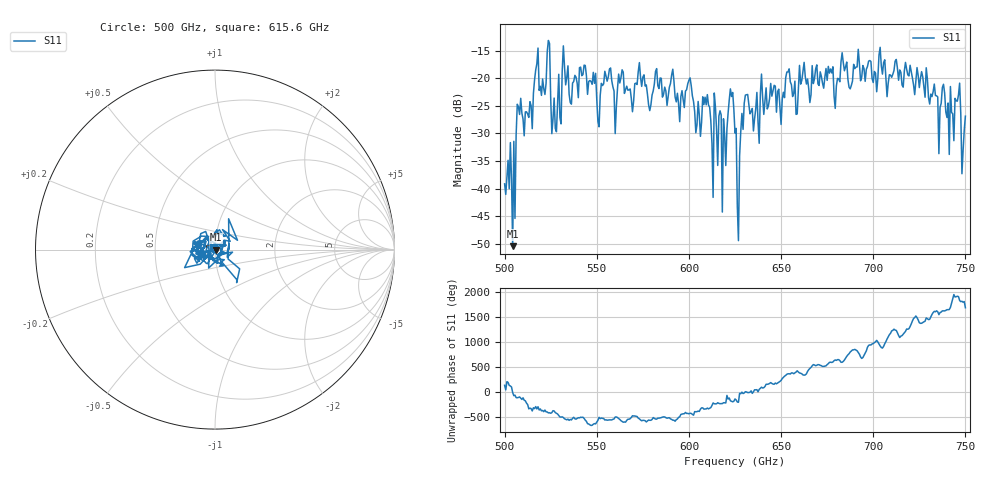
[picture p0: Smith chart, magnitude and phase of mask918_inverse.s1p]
!Created with skrf (http://scikit-rf.org).
# GHz S MA R 50.0
!freq magS11 angS11
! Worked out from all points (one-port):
!   401 points, 500 GHz to 750 GHz, reference 50 ohm
!   lowest |S11| = -50.4 dB at 504.4 GHz (marker M1), VSWR 1.01, Z = 50.3 - j0.0546 ohm
!   |S11| at or under -10 dB: start of sweep to end of sweep
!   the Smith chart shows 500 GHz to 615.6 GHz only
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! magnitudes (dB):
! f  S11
! 500 GHz  -39.1
! 504.4 GHz  -50.4
! 507.5 GHz  -25.2
! 513.8 GHz  -24.2
! 516.9 GHz  -18.5
! 521.2 GHz  -21.9
! 523.8 GHz  -13.1
! 526.9 GHz  -23.6
! 531.2 GHz  -18.7
! 542.5 GHz  -19.3
! 551.2 GHz  -28.8
! 562.5 GHz  -20.8
! 578.8 GHz  -25.9
! 590.6 GHz  -19.4
! 593.8 GHz  -22.7
! 610 GHz  -23.0
! 611.9 GHz  -27.7
! 619.4 GHz  -30.3
! 623.1 GHz  -23.3
! 625 GHz  -29.9
! 626.9 GHz  -49.4
! 631.2 GHz  -23.0
! 656.2 GHz  -23.3
! 687.5 GHz  -21.9
! 718.8 GHz  -19.4
! 742.5 GHz  -26.2
! 745.6 GHz  -24.1
! 750 GHz  -26.9
